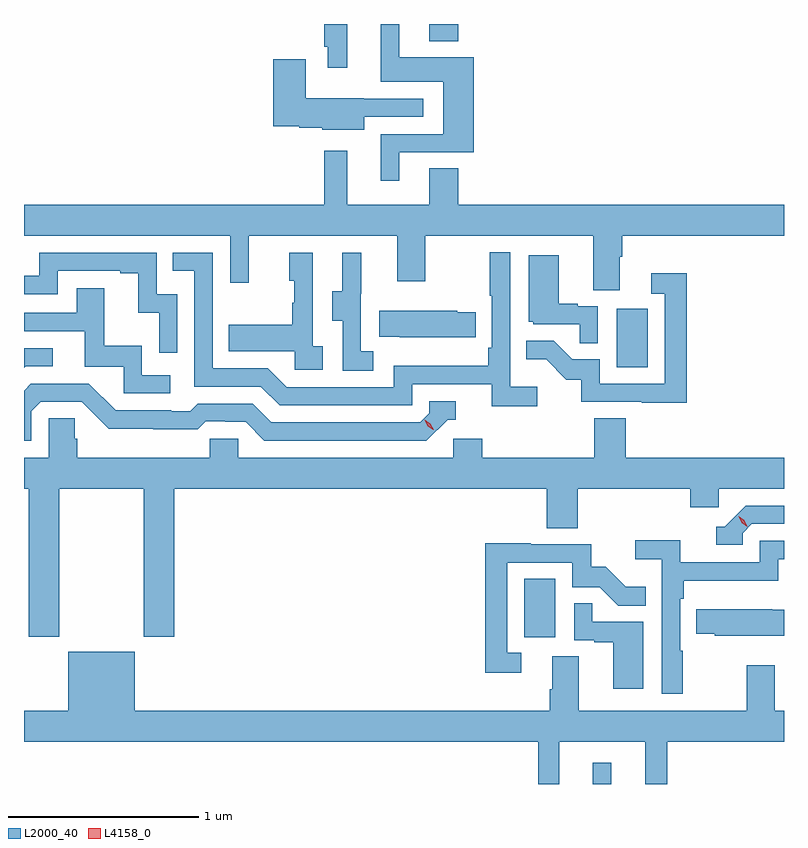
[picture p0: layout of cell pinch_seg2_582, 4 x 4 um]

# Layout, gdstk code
import gdstk
lib = gdstk.Library(unit=1e-6, precision=1e-09)
def R(c, l, rs):  # rectangles x0, y0, x1, y1
    for r in rs: c.add(gdstk.rectangle(r[:2], r[2:], *l))
def P(c, l, *ps):  # polygons
    for p in ps: c.add(gdstk.Polygon(p, *l))
L2000_40 = (2000, 40)
L4158_0 = (4158, 0)

pinch_seg2_582 = lib.new_cell('pinch_seg2_582')
R(pinch_seg2_582, L2000_40, [(1058.343,619.442,1058.44,619.555), (1057.982,620.214,1058.146,620.521), (1058.468,621.636,1058.632,621.943), (1057.481,623.351,1057.634,623.442)])
P(pinch_seg2_582, L2000_40, [(1057.051,623.442),(1056.93,623.442),(1056.93,623.323),(1056.947,623.323),(1056.947,623.211),(1057.051,623.211)],
  [(1057.324,622.767),(1057.715,622.767),(1057.715,623.266),(1057.324,623.266),(1057.324,623.442),(1057.226,623.442),(1057.226,623.138),(1057.556,623.138),(1057.556,622.863),(1057.226,622.863),(1057.226,622.617),(1057.324,622.617)],
  [(1057.141,622.953),(1057.45,622.953),(1057.45,623.049),(1057.137,623.049),(1057.137,623.05),(1056.832,623.05),(1056.832,623.257),(1056.662,623.257),(1056.662,622.904),(1056.798,622.904),(1056.798,622.897),(1056.918,622.897),(1056.918,622.886),(1057.141,622.886)],
  [(1058.485,622.216),(1058.498,622.216),(1058.498,622.328),(1059.349,622.328),(1059.349,622.492),(1057.634,622.492),(1057.634,622.682),(1057.481,622.682),(1057.481,622.492),(1057.051,622.492),(1057.051,622.774),(1056.93,622.774),(1056.93,622.492),(1055.349,622.492),(1055.349,622.328),(1056.435,622.328),(1056.435,622.08),(1056.533,622.08),(1056.533,622.328),(1057.313,622.328),(1057.313,622.089),(1057.461,622.089),(1057.461,622.328),(1058.345,622.328),(1058.345,622.042),(1058.485,622.042)],
  [(1058.05,621.532),(1057.908,621.532),(1057.908,622.24),(1057.8,622.24),(1057.8,622.012),(1057.812,622.012),(1057.812,621.739),(1057.792,621.739),(1057.792,621.643),(1057.296,621.643),(1057.296,621.531),(1056.732,621.531),(1056.633,621.63),(1056.342,621.63),(1056.342,622.239),(1056.133,622.239),(1056.133,622.143),(1056.246,622.143),(1056.246,621.534),(1056.596,621.534),(1056.695,621.435),(1057.392,621.435),(1057.392,621.546),(1057.811,621.546),(1057.811,621.43),(1058.05,621.43)],
  [(1056.156,622.02),(1056.048,622.02),(1056.048,622.239),(1055.43,622.239),(1055.43,622.116),(1055.349,622.116),(1055.349,622.02),(1055.526,622.02),(1055.526,622.143),(1055.855,622.143),(1055.855,622.131),(1055.951,622.131),(1055.951,621.923),(1056.06,621.923),(1056.06,621.711),(1056.156,621.711)],
  [(1056.922,621.746),(1056.87,621.746),(1056.87,622.237),(1056.746,622.237),(1056.746,622.092),(1056.772,622.092),(1056.772,621.974),(1056.762,621.974),(1056.762,621.859),(1056.427,621.859),(1056.427,621.719),(1056.774,621.719),(1056.774,621.621),(1056.922,621.621)],
  [(1057.186,621.719),(1057.122,621.719),(1057.122,622.023),(1057.124,622.023),(1057.124,622.237),(1057.025,622.237),(1057.025,622.035),(1056.971,622.035),(1056.971,621.88),(1057.026,621.88),(1057.026,621.616),(1057.186,621.616)],
  [(1058.37,621.957),(1058.264,621.957),(1058.264,621.97),(1058.164,621.97),(1058.164,622.225),(1058.006,622.225),(1058.006,621.876),(1058.028,621.876),(1058.028,621.861),(1058.275,621.861),(1058.275,621.763),(1058.37,621.763)],
  [(1058.837,622.129),(1058.649,622.129),(1058.649,622.023),(1058.721,622.023),(1058.721,621.549),(1058.379,621.549),(1058.379,621.678),(1058.235,621.678),(1058.137,621.776),(1057.993,621.776),(1057.993,621.677),(1058.097,621.677),(1058.204,621.57),(1058.281,621.57),(1058.281,621.453),(1058.599,621.453),(1058.599,621.448),(1058.837,621.448)],
  [(1056.118,621.594),(1055.97,621.594),(1055.97,621.748),(1055.771,621.748),(1055.771,622.051),(1055.627,622.051),(1055.627,621.921),(1055.349,621.921),(1055.349,621.825),(1055.669,621.825),(1055.669,621.639),(1055.874,621.639),(1055.874,621.498),(1056.118,621.498)],
  [(1057.727,621.924),(1057.629,621.924),(1057.629,621.934),(1057.219,621.934),(1057.219,621.797),(1057.327,621.797),(1057.327,621.794),(1057.727,621.794)],
  [(1055.358,621.642),(1055.5,621.642),(1055.5,621.735),(1055.349,621.735),(1055.349,621.633)],
  [(1055.388,621.405),(1055.436,621.453),(1055.652,621.453),(1055.794,621.311),(1056.03,621.311),(1056.03,621.309),(1056.263,621.309),(1056.305,621.351),(1056.408,621.351),(1056.408,621.348),(1056.515,621.348),(1056.614,621.249),(1057.467,621.249),(1057.578,621.36),(1057.621,621.36),(1057.621,621.456),(1057.482,621.456),(1057.482,621.393),(1057.434,621.345),(1056.651,621.345),(1056.552,621.444),(1056.263,621.444),(1056.224,621.405),(1056.125,621.405),(1056.125,621.408),(1055.832,621.408),(1055.691,621.549),(1055.385,621.549),(1055.349,621.513),(1055.349,621.249),(1055.388,621.249)],
  [(1057.76,621.258),(1057.608,621.258),(1057.608,621.16),(1056.477,621.16),(1056.477,621.258),(1056.327,621.258),(1056.327,621.16),(1055.63,621.16),(1055.63,621.258),(1055.615,621.258),(1055.615,621.368),(1055.478,621.368),(1055.478,621.16),(1055.349,621.16),(1055.349,620.996),(1055.375,620.996),(1055.375,620.217),(1055.535,620.217),(1055.535,620.996),(1055.98,620.996),(1055.98,620.217),(1056.14,620.217),(1056.14,620.996),(1058.099,620.996),(1058.099,620.788),(1058.264,620.788),(1058.264,620.996),(1058.855,620.996),(1058.855,620.898),(1059.006,620.898),(1059.006,620.996),(1059.349,620.996),(1059.349,621.16),(1058.516,621.16),(1058.516,621.368),(1058.351,621.368),(1058.351,621.16),(1057.76,621.16)],
  [(1059.132,620.763),(1059.18,620.811),(1059.349,620.811),(1059.349,620.907),(1059.147,620.907),(1059.036,620.796),(1058.993,620.796),(1058.993,620.7),(1059.132,620.7)],
  [(1058.815,620.144),(1058.802,620.144),(1058.802,620.417),(1058.822,620.417),(1058.822,620.513),(1059.318,620.513),(1059.318,620.625),(1059.349,620.625),(1059.349,620.721),(1059.222,620.721),(1059.222,620.61),(1058.804,620.61),(1058.804,620.726),(1058.565,620.726),(1058.565,620.624),(1058.706,620.624),(1058.706,619.917),(1058.815,619.917)],
  [(1057.966,620.133),(1057.893,620.133),(1057.893,620.607),(1058.235,620.607),(1058.235,620.478),(1058.379,620.478),(1058.477,620.38),(1058.621,620.38),(1058.621,620.479),(1058.517,620.479),(1058.41,620.586),(1058.334,620.586),(1058.334,620.703),(1058.015,620.703),(1058.015,620.708),(1057.777,620.708),(1057.777,620.028),(1057.966,620.028)],
  [(1058.608,620.295),(1058.339,620.295),(1058.339,620.393),(1058.244,620.393),(1058.244,620.199),(1058.351,620.199),(1058.351,620.187),(1058.45,620.187),(1058.45,619.944),(1058.608,619.944)],
  [(1059.349,620.359),(1059.287,620.359),(1059.287,620.362),(1058.887,620.362),(1058.887,620.233),(1058.985,620.233),(1058.985,620.222),(1059.349,620.222)],
  [(1058.165,619.664),(1058.618,619.664),(1058.618,619.442),(1058.735,619.442),(1058.735,619.664),(1059.349,619.664),(1059.349,619.828),(1059.301,619.828),(1059.301,620.068),(1059.154,620.068),(1059.154,619.828),(1058.269,619.828),(1058.269,620.114),(1058.129,620.114),(1058.129,619.94),(1058.117,619.94),(1058.117,619.828),(1055.932,619.828),(1055.932,620.137),(1055.582,620.137),(1055.582,619.828),(1055.349,619.828),(1055.349,619.664),(1058.056,619.664),(1058.056,619.442),(1058.165,619.442)])
P(pinch_seg2_582, L4158_0, [(1057.504,621.306),(1057.474,621.326),(1057.457,621.358),(1057.457,621.359),(1057.458,621.359),(1057.488,621.339),(1057.505,621.306),(1057.505,621.306)],
  [(1059.156,620.797),(1059.126,620.817),(1059.11,620.85),(1059.11,620.85),(1059.111,620.85),(1059.141,620.83),(1059.156,620.797),(1059.156,620.797)])

lib.write_gds('pinch_seg2_582.gds')
